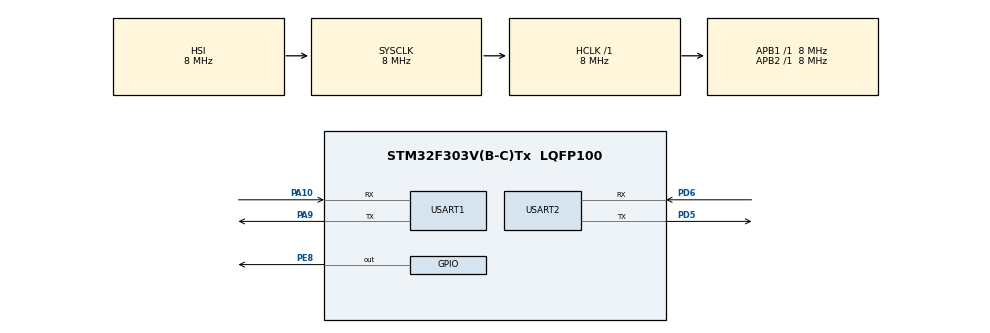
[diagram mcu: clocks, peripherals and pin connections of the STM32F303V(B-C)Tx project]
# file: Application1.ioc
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Mcu.Family=STM32F3
Mcu.Name=STM32F303V(B-C)Tx
Mcu.Package=LQFP100
NVIC.PriorityGroup=NVIC_PRIORITYGROUP_4
PA10.Mode=Asynchronous
PA10.Signal=USART1_RX
PA9.Mode=Asynchronous
PA9.Signal=USART1_TX
PD5.Mode=Asynchronous
PD5.Signal=USART2_TX
PD6.Mode=Asynchronous
PD6.Signal=USART2_RX
PE8.Signal=GPIO_Output
ProjectManager.HeapSize=0x200
ProjectManager.StackSize=0x400
ProjectManager.TargetToolchain=STM32CubeIDE
RCC.AHBFreq_Value=8000000
RCC.APB1Freq_Value=8000000
RCC.APB2Freq_Value=8000000
RCC.CortexFreq_Value=8000000
RCC.HSE_VALUE=8000000
RCC.HSI_VALUE=8000000
RCC.LSE_VALUE=32768
RCC.SYSCLKFreq_VALUE=8000000
USART1.VirtualMode-Asynchronous=VM_ASYNC
USART2.VirtualMode-Asynchronous=VM_ASYNC
board=custom

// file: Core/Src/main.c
/* USER CODE BEGIN Header */
/**
  ******************************************************************************
  * @file           : main.c
  * @brief          : Main program body
  ******************************************************************************
  * @attention
  *
  * Copyright (c) 2023 STMicroelectronics.
  * All rights reserved.
  *
  * This software is licensed under terms that can be found in the LICENSE file
  * in the root directory of this software component.
  * If no LICENSE file comes with this software, it is provided AS-IS.
  *
  ******************************************************************************
  */
/* USER CODE END Header */
#include "main.h"

/* USER CODE BEGIN Includes */
#include <stdio.h>
/* USER CODE END Includes */

/* USER CODE BEGIN PM */
#define MAJOR 0   //APP Major version Number
#define MINOR 1   //APP Minor version Number
/* USER CODE END PM */

UART_HandleTypeDef huart1;
UART_HandleTypeDef huart2;

/* USER CODE BEGIN PV */
const uint8_t APP_Version[2] = { MAJOR, MINOR };

/* USER CODE END PV */

void SystemClock_Config(void);
static void MX_GPIO_Init(void);
static void MX_USART1_UART_Init(void);
static void MX_USART2_UART_Init(void);

int main(void)
{

  /* MCU Configuration--------------------------------------------------------*/

  /* Reset of all peripherals, Initializes the Flash interface and the Systick. */
  HAL_Init();

  /* Configure the system clock */
  SystemClock_Config();

  /* Initialize all configured peripherals */
  MX_GPIO_Init();
  MX_USART1_UART_Init();
  MX_USART2_UART_Init();
  /* USER CODE BEGIN 2 */
  printf("Starting Application(%d.%d)\n", APP_Version[0], APP_Version[1] );
  /* USER CODE END 2 */

  /* Infinite loop */
  while (1)
  {

    /* USER CODE BEGIN 3 */
	HAL_GPIO_WritePin( GPIOE, GPIO_PIN_8, GPIO_PIN_SET );
	HAL_Delay(1000);    //1 Sec delay
    HAL_GPIO_WritePin( GPIOE, GPIO_PIN_8, GPIO_PIN_RESET );
	HAL_Delay(1000);	//1 Sec delay
  }
  /* USER CODE END 3 */
}

void SystemClock_Config(void)
{
  RCC_OscInitTypeDef RCC_OscInitStruct = {0};
  RCC_ClkInitTypeDef RCC_ClkInitStruct = {0};
  RCC_PeriphCLKInitTypeDef PeriphClkInit = {0};

  /** Initializes the RCC Oscillators according to the specified parameters
  * in the RCC_OscInitTypeDef structure.
  */
  RCC_OscInitStruct.OscillatorType = RCC_OSCILLATORTYPE_HSI;
  RCC_OscInitStruct.HSIState = RCC_HSI_ON;
  RCC_OscInitStruct.HSICalibrationValue = RCC_HSICALIBRATION_DEFAULT;
  RCC_OscInitStruct.PLL.PLLState = RCC_PLL_NONE;
  if (HAL_RCC_OscConfig(&RCC_OscInitStruct) != HAL_OK)
  {
    Error_Handler();
  }

  /** Initializes the CPU, AHB and APB buses clocks
  */
  RCC_ClkInitStruct.ClockType = RCC_CLOCKTYPE_HCLK|RCC_CLOCKTYPE_SYSCLK
                              |RCC_CLOCKTYPE_PCLK1|RCC_CLOCKTYPE_PCLK2;
  RCC_ClkInitStruct.SYSCLKSource = RCC_SYSCLKSOURCE_HSI;
  RCC_ClkInitStruct.AHBCLKDivider = RCC_SYSCLK_DIV1;
  RCC_ClkInitStruct.APB1CLKDivider = RCC_HCLK_DIV1;
  RCC_ClkInitStruct.APB2CLKDivider = RCC_HCLK_DIV1;

  if (HAL_RCC_ClockConfig(&RCC_ClkInitStruct, FLASH_LATENCY_0) != HAL_OK)
  {
    Error_Handler();
  }
  PeriphClkInit.PeriphClockSelection = RCC_PERIPHCLK_USART1|RCC_PERIPHCLK_USART2;
  PeriphClkInit.Usart1ClockSelection = RCC_USART1CLKSOURCE_PCLK2;
  PeriphClkInit.Usart2ClockSelection = RCC_USART2CLKSOURCE_PCLK1;
  if (HAL_RCCEx_PeriphCLKConfig(&PeriphClkInit) != HAL_OK)
  {
    Error_Handler();
  }
}

static void MX_USART1_UART_Init(void)
{

  huart1.Instance = USART1;
  huart1.Init.BaudRate = 115200;
  huart1.Init.WordLength = UART_WORDLENGTH_8B;
  huart1.Init.StopBits = UART_STOPBITS_1;
  huart1.Init.Parity = UART_PARITY_NONE;
  huart1.Init.Mode = UART_MODE_TX_RX;
  huart1.Init.HwFlowCtl = UART_HWCONTROL_NONE;
  huart1.Init.OverSampling = UART_OVERSAMPLING_16;
  huart1.Init.OneBitSampling = UART_ONE_BIT_SAMPLE_DISABLE;
  huart1.AdvancedInit.AdvFeatureInit = UART_ADVFEATURE_NO_INIT;
  if (HAL_UART_Init(&huart1) != HAL_OK)
  {
    Error_Handler();
  }

}

static void MX_USART2_UART_Init(void)
{

  huart2.Instance = USART2;
  huart2.Init.BaudRate = 115200;
  huart2.Init.WordLength = UART_WORDLENGTH_8B;
  huart2.Init.StopBits = UART_STOPBITS_1;
  huart2.Init.Parity = UART_PARITY_NONE;
  huart2.Init.Mode = UART_MODE_TX_RX;
  huart2.Init.HwFlowCtl = UART_HWCONTROL_NONE;
  huart2.Init.OverSampling = UART_OVERSAMPLING_16;
  huart2.Init.OneBitSampling = UART_ONE_BIT_SAMPLE_DISABLE;
  huart2.AdvancedInit.AdvFeatureInit = UART_ADVFEATURE_NO_INIT;
  if (HAL_UART_Init(&huart2) != HAL_OK)
  {
    Error_Handler();
  }

}

static void MX_GPIO_Init(void)
{
  GPIO_InitTypeDef GPIO_InitStruct = {0};

  /* GPIO Ports Clock Enable */
  __HAL_RCC_GPIOE_CLK_ENABLE();
  __HAL_RCC_GPIOA_CLK_ENABLE();
  __HAL_RCC_GPIOD_CLK_ENABLE();

  /*Configure GPIO pin Output Level */
  HAL_GPIO_WritePin(GPIOE, GPIO_PIN_8, GPIO_PIN_RESET);

  /*Configure GPIO pin : PE8 */
  GPIO_InitStruct.Pin = GPIO_PIN_8;
  GPIO_InitStruct.Mode = GPIO_MODE_OUTPUT_PP;
  GPIO_InitStruct.Pull = GPIO_NOPULL;
  GPIO_InitStruct.Speed = GPIO_SPEED_FREQ_LOW;
  HAL_GPIO_Init(GPIOE, &GPIO_InitStruct);

}

/* USER CODE BEGIN 4 */
/**
  * @brief Print the characters to UART (printf).
  * @retval int
  */
#ifdef __GNUC__
  /* With GCC, small printf (option LD Linker->Libraries->Small printf
     set to 'Yes') calls __io_putchar() */
int __io_putchar(int ch)
#else
int fputc(int ch, FILE *f)
#endif /* __GNUC__ */
{
  /* Place your implementation of fputc here */
  /* e.g. write a character to the UART3 and Loop until the end of transmission */
  HAL_UART_Transmit(&huart2, (uint8_t *)&ch, 1, HAL_MAX_DELAY);

  return ch;
}
/* USER CODE END 4 */

void Error_Handler(void)
{
  __disable_irq();
  while (1)
  {
  }
}
